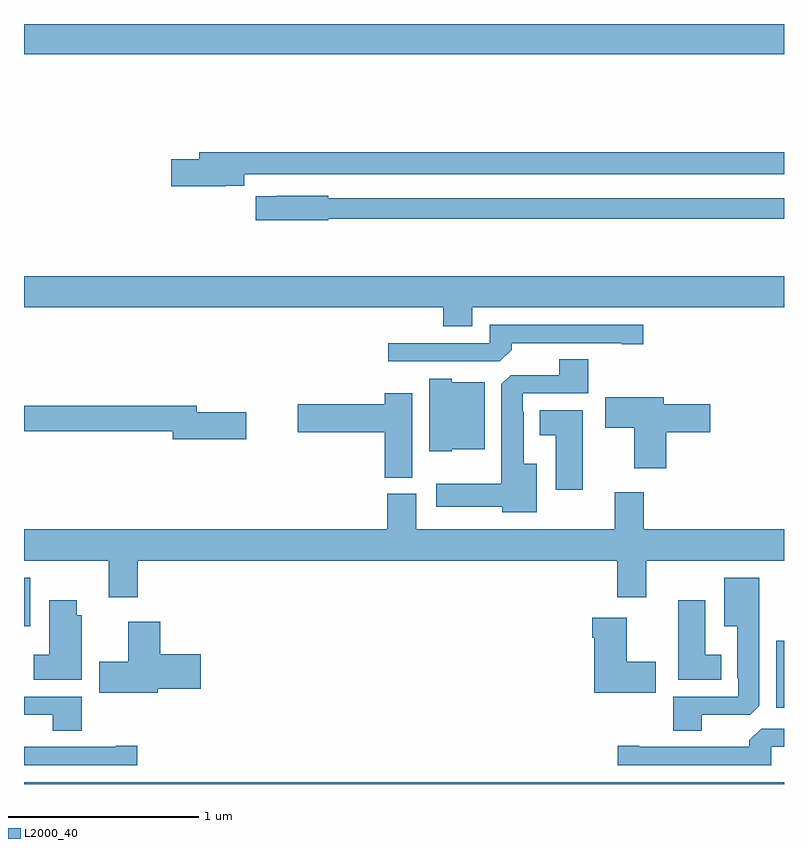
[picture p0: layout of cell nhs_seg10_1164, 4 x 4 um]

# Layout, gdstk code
import gdstk
lib = gdstk.Library(unit=1e-6, precision=1e-09)
def R(c, l, rs):  # rectangles x0, y0, x1, y1
    for r in rs: c.add(gdstk.rectangle(r[:2], r[2:], *l))
def P(c, l, *ps):  # polygons
    for p in ps: c.add(gdstk.Polygon(p, *l))
L2000_40 = (2000, 40)

nhs_seg10_1164 = lib.new_cell('nhs_seg10_1164')
R(nhs_seg10_1164, L2000_40, [(171,1272.5,175,1272.508), (174.959,1272.902,175,1273.255), (171,1273.331,171.034,1273.585), (171,1276.34,175,1276.5)])
P(nhs_seg10_1164, L2000_40, [(172.058,1275.648),(172.16,1275.648),(172.16,1275.708),(175,1275.708),(175,1275.824),(171.923,1275.824),(171.923,1275.788),(171.774,1275.788),(171.774,1275.646),(172.058,1275.646)],
  [(172.602,1275.474),(175,1275.474),(175,1275.582),(172.602,1275.582),(172.602,1275.595),(172.33,1275.595),(172.33,1275.593),(172.219,1275.593),(172.219,1275.466),(172.602,1275.466)],
  [(173.359,1275.008),(175,1275.008),(175,1275.172),(171,1275.172),(171,1275.008),(173.207,1275.008),(173.207,1274.909),(173.359,1274.909)],
  [(173.567,1274.786),(173.567,1274.82),(174.146,1274.82),(174.146,1274.815),(174.259,1274.815),(174.259,1274.916),(173.451,1274.916),(173.451,1274.82),(172.917,1274.82),(172.917,1274.724),(173.505,1274.724)],
  [(173.698,1274.185),(173.629,1274.185),(173.629,1274.459),(173.625,1274.459),(173.625,1274.556),(173.969,1274.556),(173.969,1274.735),(173.816,1274.735),(173.816,1274.652),(173.562,1274.652),(173.513,1274.603),(173.513,1274.08),(173.169,1274.08),(173.169,1273.958),(173.517,1273.958),(173.517,1273.931),(173.698,1273.931)],
  [(173.25,1274.261),(173.425,1274.261),(173.425,1274.614),(173.25,1274.614),(173.25,1274.632),(173.132,1274.632),(173.132,1274.252),(173.25,1274.252)],
  [(173.044,1274.557),(172.898,1274.557),(172.898,1274.498),(172.44,1274.498),(172.44,1274.351),(172.898,1274.351),(172.898,1274.113),(173.044,1274.113)],
  [(174.38,1274.351),(174.613,1274.351),(174.613,1274.498),(174.367,1274.498),(174.367,1274.536),(174.06,1274.536),(174.06,1274.374),(174.212,1274.374),(174.212,1274.163),(174.38,1274.163)],
  [(172.171,1274.456),(171.91,1274.456),(171.91,1274.492),(171,1274.492),(171,1274.356),(171.782,1274.356),(171.782,1274.314),(172.171,1274.314)],
  [(173.941,1274.467),(173.714,1274.467),(173.714,1274.336),(173.798,1274.336),(173.798,1274.049),(173.941,1274.049)],
  [(171.599,1273.676),(174.122,1273.676),(174.122,1273.482),(174.274,1273.482),(174.274,1273.676),(175,1273.676),(175,1273.84),(174.263,1273.84),(174.263,1274.035),(174.11,1274.035),(174.11,1273.84),(173.065,1273.84),(173.065,1274.028),(172.913,1274.028),(172.913,1273.84),(171,1273.84),(171,1273.676),(171.446,1273.676),(171.446,1273.482),(171.599,1273.482)],
  [(174.568,1272.864),(174.822,1272.864),(174.871,1272.913),(174.871,1273.585),(174.686,1273.585),(174.686,1273.331),(174.755,1273.331),(174.755,1273.057),(174.759,1273.057),(174.759,1272.96),(174.416,1272.96),(174.416,1272.781),(174.568,1272.781)],
  [(174.67,1273.18),(174.586,1273.18),(174.586,1273.468),(174.443,1273.468),(174.443,1273.049),(174.67,1273.049)],
  [(171.304,1273.389),(171.277,1273.389),(171.277,1273.468),(171.134,1273.468),(171.134,1273.18),(171.05,1273.18),(171.05,1273.049),(171.304,1273.049)],
  [(174.325,1273.143),(174.172,1273.143),(174.172,1273.375),(173.99,1273.375),(173.99,1273.271),(174.002,1273.271),(174.002,1272.98),(174.325,1272.98)],
  [(171.703,1273.001),(171.931,1273.001),(171.931,1273.184),(171.716,1273.184),(171.716,1273.354),(171.548,1273.354),(171.548,1273.143),(171.396,1273.143),(171.396,1272.98),(171.703,1272.98)],
  [(171.305,1272.96),(171,1272.96),(171,1272.864),(171.152,1272.864),(171.152,1272.781),(171.305,1272.781)],
  [(174.933,1272.696),(175,1272.696),(175,1272.792),(174.879,1272.792),(174.818,1272.73),(174.818,1272.696),(174.238,1272.696),(174.238,1272.701),(174.126,1272.701),(174.126,1272.6),(174.933,1272.6)],
  [(171.595,1272.701),(171.482,1272.701),(171.482,1272.696),(171,1272.696),(171,1272.6),(171.595,1272.6)])

lib.write_gds('nhs_seg10_1164.gds')
